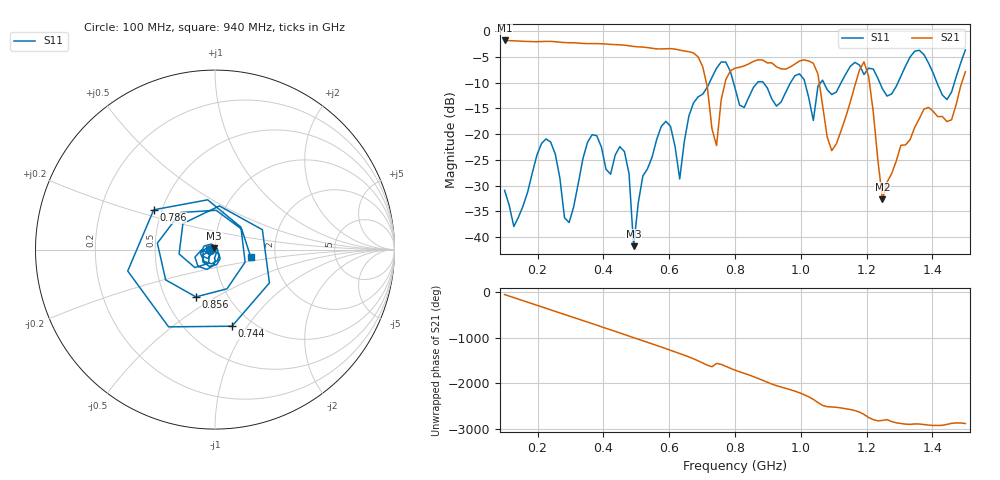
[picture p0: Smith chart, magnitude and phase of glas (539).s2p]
! NanoVNA-App
! Date: 2025-09-25 15:59:40
! Start: 100MHz Stop: 1,5GHz Points: 101
! S-Parameter data: F S11 S21 S12 S22
# Hz S RI R 50
!  Frequency  S11_Real  S11_Imag  S21_Real  S21_Imag  S12_Real  S12_Imag  S22_Real  S22_Imag
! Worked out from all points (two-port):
!   101 points, 100 MHz to 1.5 GHz, reference 50 ohm
!   highest |S21| = -1.80 dB at 100 MHz (marker M1); lowest = -32.7 dB at 1.248 GHz (marker M2)
!   |S21| within 3 dB of the highest: start of sweep to 684.3 MHz
!   lowest |S11| = -41.8 dB at 492 MHz (marker M3), VSWR 1.02, Z = 49.5 + j0.634 ohm
!   |S11| at or under -10 dB: start of sweep to 722.4 MHz; 795.5 MHz to 867.8 MHz (72.32 MHz wide, 8.7 % of centre); 886.2 MHz to 968.8 MHz (82.58 MHz wide, 8.9 % of centre) (the widest 3 of 7)
!   S12 and S22 are empty: the file has one direction only
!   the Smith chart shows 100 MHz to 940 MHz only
!   S11 on the Smith chart (normalised r, x): 100 MHz: 0.95, -0.01; 744 MHz: 0.81, -0.85; 786 MHz: 0.45, +0.24; 856 MHz: 0.71, -0.41; 940 MHz: 1.49, -0.14
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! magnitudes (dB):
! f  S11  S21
! 100 MHz  -30.9  -1.8
! 128 MHz  -37.9  -1.9
! 226 MHz  -20.9  -2.0
! 296 MHz  -37.2  -2.2
! 338 MHz  -24.7  -2.4
! 464 MHz  -23.4  -2.7
! 492 MHz  -41.8  -3.0
! 576 MHz  -18.5  -3.5
! 632 MHz  -28.7  -3.7
! 702 MHz  -12.2  -6.9
! 744 MHz  -7.2  -22.2
! 786 MHz  -7.8  -7.7
! 800 MHz  -11.0  -7.2
! 856 MHz  -10.9  -5.9
! 940 MHz  -13.8  -7.3
! 1.038 GHz  -17.3  -6.2
! 1.094 GHz  -12.3  -23.2
! 1.192 GHz  -8.4  -6.0
! 1.248 GHz  -11.2  -32.7
! 1.276 GHz  -12.2  -27.7
! 1.444 GHz  -13.3  -17.6
! 1.5 GHz  -3.6  -7.9
